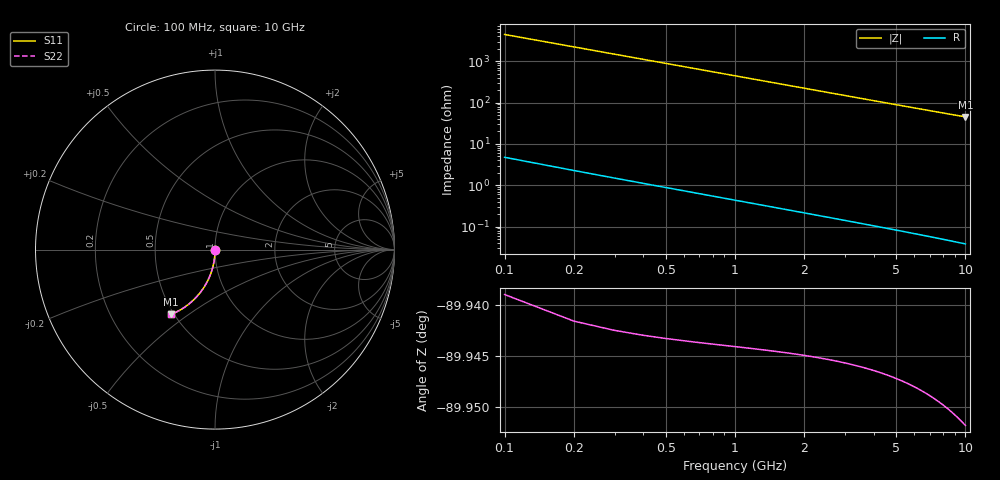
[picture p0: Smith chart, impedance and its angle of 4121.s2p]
# Hz S RI R 50.00
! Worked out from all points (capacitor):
!   100 points, 100 MHz to 10 GHz, reference 50 ohm
!   read as one part in shunt: C = 357 fF near 100 MHz
!   lowest |Z| = 45.1 ohm at 10 GHz (marker M1)
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1e8  0.000212 -0.00491  0.9997 -0.00631  0.9997 -0.00631  0.000212 -0.00491
2e8  0.000115 -0.00982  0.9996 -0.0126  0.9996 -0.0126  0.000115 -0.00982
3e8  -4.41e-05 -0.0147  0.9994 -0.0189  0.9994 -0.0189  -4.41e-05 -0.0147
4e8  -0.000265 -0.0196  0.9992 -0.0252  0.9992 -0.0252  -0.000265 -0.0196
5e8  -0.000549 -0.0245  0.9989 -0.0315  0.9989 -0.0315  -0.000549 -0.0245
6e8  -0.000894 -0.0294  0.9986 -0.0378  0.9986 -0.0378  -0.000894 -0.0294
7e8  -0.0013 -0.0343  0.9981 -0.0441  0.9981 -0.0441  -0.0013 -0.0343
8e8  -0.00177 -0.0392  0.9977 -0.0504  0.9977 -0.0504  -0.00177 -0.0392
9e8  -0.0023 -0.0441  0.9971 -0.0567  0.9971 -0.0567  -0.0023 -0.0441
1.1e9  -0.00355 -0.0538  0.9958 -0.0692  0.9958 -0.0692  -0.00355 -0.0538
1.4e9  -0.00587 -0.0683  0.9934 -0.088  0.9934 -0.088  -0.00587 -0.0683
1.8e9  -0.00981 -0.0875  0.9893 -0.1128  0.9893 -0.1128  -0.00981 -0.0875
2.1e9  -0.0134 -0.1017  0.9856 -0.1312  0.9856 -0.1312  -0.0134 -0.1017
2.5e9  -0.019 -0.1204  0.9799 -0.1555  0.9799 -0.1555  -0.019 -0.1204
2.9e9  -0.0255 -0.1387  0.9732 -0.1795  0.9732 -0.1795  -0.0255 -0.1387
3.4e9  -0.0348 -0.161  0.9635 -0.2088  0.9635 -0.2088  -0.0348 -0.161
4.2e9  -0.0524 -0.1951  0.9453 -0.2542  0.9453 -0.2542  -0.0524 -0.1951
5.1e9  -0.0757 -0.2306  0.9211 -0.3026  0.9211 -0.3026  -0.0757 -0.2306
5.9e9  -0.0992 -0.2595  0.8967 -0.3429  0.8967 -0.3429  -0.0992 -0.2595
6.7e9  -0.1249 -0.2855  0.87 -0.3804  0.87 -0.3804  -0.1249 -0.2855
8.4e9  -0.1846 -0.3308  0.8076 -0.4504  0.8076 -0.4504  -0.1846 -0.3308
1e10  -0.2446 -0.3609  0.7445 -0.5041  0.7445 -0.5041  -0.2446 -0.3609
